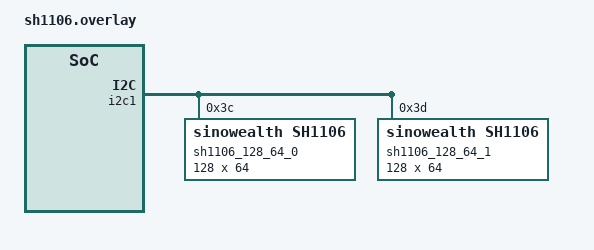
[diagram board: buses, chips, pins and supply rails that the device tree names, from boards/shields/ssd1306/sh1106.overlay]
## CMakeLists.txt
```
# SPDX-License-Identifier: Apache-2.0

cmake_minimum_required(VERSION 3.20.0)

set (CMAKE_CXX_STANDARD 20)
set (CMAKE_CXX_STANDARD_REQUIRED ON)

# Define board root to find our custom shield
set(BOARD_ROOT ${CMAKE_SOURCE_DIR})

# Default board to blackpill
if (NOT DEFINED ${BOARD})
  set(BOARD blackpill_f411ce)
endif()

if (NOT DEFINED ${BOARD})
set(SHIELD sh1106)
#set(SHIELD ssd1306)
endif()

find_package(Zephyr REQUIRED HINTS $ENV{ZEPHYR_BASE})

# Include some zephyr cmake extensions
include(${ZEPHYR_BASE}/cmake/modules/extensions.cmake)

project(display_test)

FILE(GLOB app_sources src/*.cpp)
target_sources(app PRIVATE ${app_sources})
```

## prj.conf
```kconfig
CONFIG_LOG=y
CONFIG_LOG_MODE_IMMEDIATE=y
CONFIG_LOG_BACKEND_UART=y
CONFIG_SHELL=y

CONFIG_CPP=y
CONFIG_STD_CPP20=y
CONFIG_GLIBCXX_LIBCPP=y

CONFIG_I2C=y                                                                                         

CONFIG_CBPRINTF_FP_SUPPORT=y

CONFIG_MAIN_STACK_SIZE=2048
CONFIG_DISPLAY=y
CONFIG_DISPLAY_LOG_LEVEL_ERR=y

CONFIG_LV_Z_MEM_POOL_SIZE=16384
CONFIG_LV_Z_SHELL=y
#CONFIG_LV_Z_FLUSH_THREAD=y

CONFIG_SSD1306_DEFAULT_CONTRAST=255

CONFIG_LVGL=y
CONFIG_LV_MEM_CUSTOM=y
CONFIG_LV_USE_LOG=y
CONFIG_LV_USE_LABEL=y
CONFIG_LV_USE_BTN=y
CONFIG_LV_USE_ARC=y
CONFIG_LV_USE_MONKEY=y
CONFIG_LV_FONT_MONTSERRAT_16=y
```

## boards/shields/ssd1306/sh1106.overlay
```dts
/*
 * Copyright (c) 2019 PHYTEC Messtechnik GmbH
 *
 * SPDX-License-Identifier: Apache-2.0
 */

/ {
      chosen {
              zephyr,display = &sh1106_128_64_0;
      };
};


&i2c1 {
	status = "okay";

	sh1106_128_64_0: ssd1306@3c {
		compatible = "sinowealth,sh1106";
		reg = <0x3c>;
		width = <128>;
		height = <64>;
		segment-offset = <2>;
		page-offset = <0>;
		display-offset = <0>;
		multiplex-ratio = <63>;
		segment-remap;
		com-invdir;
		prechargep = <0x22>;
	};

	sh1106_128_64_1: ssd1306@3d {
		compatible = "sinowealth,sh1106";
		reg = <0x3d>;
		width = <128>;
		height = <64>;
		segment-offset = <2>;
		page-offset = <0>;
		display-offset = <0>;
		multiplex-ratio = <63>;
		segment-remap;
		com-invdir;
		prechargep = <0x22>;
	};
};
```

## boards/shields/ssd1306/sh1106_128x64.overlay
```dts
/*
 * Copyright (c) 2019 PHYTEC Messtechnik GmbH
 *
 * SPDX-License-Identifier: Apache-2.0
 */

/ {
	chosen {
		zephyr,display = &sh1106_sh1106_128x64;
	};
};

&i2c0 {
	status = "okay";

	sh1106_sh1106_128x64: ssd1306@3c {
		compatible = "sinowealth,sh1106";
		reg = <0x3c>;
		width = <128>;
		height = <64>;
		segment-offset = <2>;
		page-offset = <0>;
		display-offset = <0>;
		multiplex-ratio = <63>;
		segment-remap;
		com-invdir;
		prechargep = <0x22>;
	};
};
```

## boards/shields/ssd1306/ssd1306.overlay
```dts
/*
 * Copyright (c) 2019 PHYTEC Messtechnik GmbH
 *
 * SPDX-License-Identifier: Apache-2.0
 */

/ {
	chosen {
		zephyr,display = &ssd1306_ssd1306_128x64;
	};
};

&i2c1 {
	status = "okay";

	ssd1306_ssd1306_128x64: ssd1306@3c {
		compatible = "solomon,ssd1306fb";
		reg = <0x3c>;
		width = <128>;
		height = <64>;
		segment-offset = <0>;
		page-offset = <0>;
		display-offset = <0>;
		multiplex-ratio = <63>;
		segment-remap;
		com-invdir;
		prechargep = <0x22>;
	};
};
```

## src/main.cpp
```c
/*
 * Copyright (c) 2018 Jan Van Winkel <jan.van_winkel@dxplore.eu>
 *
 * SPDX-License-Identifier: Apache-2.0
 */

#include <zephyr/device.h>
#include <zephyr/devicetree.h>
#include <zephyr/drivers/display.h>
#include <zephyr/drivers/gpio.h>
#include <lvgl.h>
#include <stdio.h>
#include <string.h>
#include <zephyr/kernel.h>
#include <lvgl_display.h>
#include <lvgl_mem.h>

#define LOG_LEVEL CONFIG_LOG_DEFAULT_LEVEL
#include <zephyr/logging/log.h>
LOG_MODULE_REGISTER(app);

#define DEV0 DEVICE_DT_GET(DT_NODELABEL(sh1106_128_64_0))
#define DEV1 DEVICE_DT_GET(DT_NODELABEL(sh1106_128_64_1))

static uint32_t count;


#ifdef CONFIG_LV_Z_ENCODER_INPUT
static const struct device *lvgl_encoder =
	DEVICE_DT_GET(DT_COMPAT_GET_ANY_STATUS_OKAY(zephyr_lvgl_encoder_input));
#endif /* CONFIG_LV_Z_ENCODER_INPUT */


static lv_disp_t* lvgl_init_first(const struct device* dev) {
	if (!device_is_ready(dev)) {
		LOG_ERR("Device 0 not ready");
		return nullptr;
	}

	display_blanking_off(dev);
    return lv_disp_get_default();
}

static int lvgl_allocate_rendering_buffers(lv_disp_drv_t *disp_driver)
{
  void *buf0 = NULL;
  void *buf1 = NULL;
  uint16_t buf_nbr_pixels;
  uint32_t buf_size;
  struct lvgl_disp_data *data = (struct lvgl_disp_data *)disp_driver->user_data;

  disp_driver->hor_res = data->cap.x_resolution;
  disp_driver->ver_res = data->cap.y_resolution;

  buf_nbr_pixels = (CONFIG_LV_Z_VDB_SIZE * disp_driver->hor_res * disp_driver->ver_res) / 100;
  /* one horizontal line is the minimum buffer requirement for lvgl */
  if (buf_nbr_pixels < disp_driver->hor_res) {
    buf_nbr_pixels = disp_driver->hor_res;
  }

  switch (data->cap.current_pixel_format) {
    case PIXEL_FORMAT_ARGB_8888:
      buf_size = 4 * buf_nbr_pixels;
      break;
    case PIXEL_FORMAT_RGB_888:
      buf_size = 3 * buf_nbr_pixels;
      break;
    case PIXEL_FORMAT_RGB_565:
      buf_size = 2 * buf_nbr_pixels;
      break;
    case PIXEL_FORMAT_MONO01:
    case PIXEL_FORMAT_MONO10:
      buf_size = buf_nbr_pixels / 8;
      buf_size += (buf_nbr_pixels % 8) == 0 ? 0 : 1;
      break;
    default:
      return -ENOTSUP;
  }

  buf0 = LV_MEM_CUSTOM_ALLOC(buf_size);
  if (buf0 == NULL) {
    LOG_ERR("Failed to allocate memory for rendering buffer");
    return -ENOMEM;
  }

#ifdef CONFIG_LV_Z_DOUBLE_VDB
  buf1 = LV_MEM_CUSTOM_ALLOC(buf_size);
  if (buf1 == NULL) {
    LV_MEM_CUSTOM_FREE(buf0);
    LOG_ERR("Failed to allocate memory for rendering buffer");
    return -ENOMEM;
  }
#endif

  disp_driver->draw_buf = (lv_disp_draw_buf_t*)LV_MEM_CUSTOM_ALLOC(sizeof(lv_disp_draw_buf_t));
  if (disp_driver->draw_buf == NULL) {
    LV_MEM_CUSTOM_FREE(buf0);
    LV_MEM_CUSTOM_FREE(buf1);
    LOG_ERR("Failed to allocate memory to store rendering buffers");
    return -ENOMEM;
  }

  lv_disp_draw_buf_init(disp_driver->draw_buf, buf0, buf1, buf_nbr_pixels);
  return 0;
}


static lv_disp_t* lvgl_init_second(const struct device* dev) {
	if (!device_is_ready(dev)) {
		LOG_ERR("Device 1 not ready");
		return nullptr;
	}

    static lv_disp_drv_t disp_drv;
    static struct lvgl_disp_data disp_data = {
      .blanking_on = false,
    };

    disp_data.display_dev = dev;
    display_get_capabilities(dev, &disp_data.cap);
    lv_disp_drv_init(&disp_drv);
    disp_drv.user_data = (void *)&disp_data;
    if (lvgl_allocate_rendering_buffers(&disp_drv) != 0) {
        return nullptr;
    }

    if (set_lvgl_rendering_cb(&disp_drv) != 0) {
        LOG_ERR("Display not supported.");
        return nullptr;
    }

    lv_disp_t *display = lv_disp_drv_register(&disp_drv);
    if (display == nullptr) {
        LOG_ERR("Failed to register display device.");
        return nullptr;
    }
    return display;
}

int main(void)
{
    LOG_INF("Starting Display Test");
	char count_str[11] = {0};

	auto display_0 = lvgl_init_first(DEV0);
    auto display_1 = lvgl_init_second(DEV1);
    if (display_0 == nullptr || display_1 == nullptr) {
      LOG_ERR("Display initialization failed");
      return -1;
    }

    lv_obj_t *hello_label = lv_label_create(lv_disp_get_scr_act(display_0));
    lv_obj_t *world_label = lv_label_create(lv_disp_get_scr_act(display_0));
    lv_obj_t *hello_too = lv_label_create(lv_disp_get_scr_act(display_1));

	lv_label_set_text(hello_label, "Hello");
	lv_label_set_text(world_label, "World!");
	lv_obj_align(hello_label, LV_ALIGN_CENTER, 0, -8);
	lv_obj_align(world_label, LV_ALIGN_CENTER, 0, 8);
	lv_label_set_text(hello_too, "Hello Too!");
	lv_obj_align(hello_too, LV_ALIGN_BOTTOM_MID, 0, 0);

	lv_obj_t *count_label = lv_label_create(lv_disp_get_scr_act(display_0));
	lv_obj_align(count_label, LV_ALIGN_BOTTOM_MID, 0, 0);
	lv_obj_t *count_too = lv_label_create(lv_disp_get_scr_act(display_1));
	lv_obj_align(count_too, LV_ALIGN_TOP_MID, 0, 0);

	lv_task_handler();

	while (1) {
		if ((count % 100) == 0U) {
			sprintf(count_str, "%d", count/100U);
			lv_label_set_text(count_label, count_str);
			lv_label_set_text(count_too, count_str);
		}
		lv_task_handler();
		++count;
		k_sleep(K_MSEC(10));
	}
}
```
